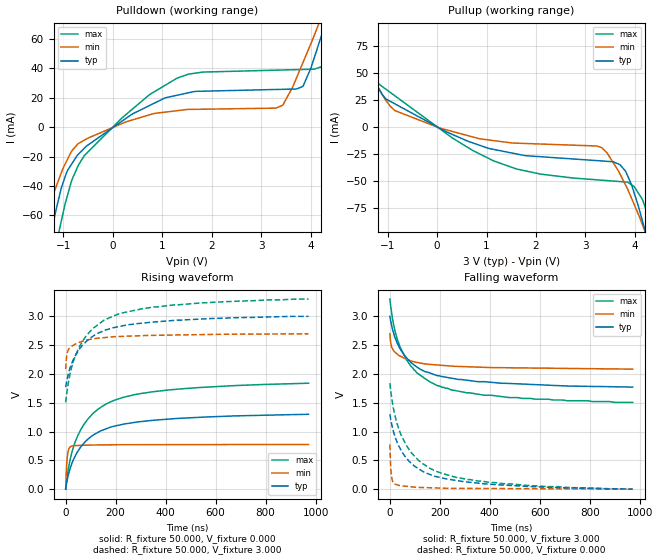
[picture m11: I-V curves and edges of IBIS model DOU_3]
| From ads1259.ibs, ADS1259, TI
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|   2-state Output DOU model 3V
[Model]   DOU_3
Model_type   Output
|Signals   _DRDY
Vmeas = 1.500V
| variable   typ   min   max
|C_comp Output average
C_comp   4.78401E-12   5.7982E-12   3.89789E-12
[Voltage Range]   3.000V   2.700V   3.300V
[Temperature Range]   27.0   105.0   -40.0
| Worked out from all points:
|   slope of the pulldown table from 0 to 0.45 V, typ, clamps not added: 44.3 ohm
|   slope of the pullup table from 0 to 0.45 V, typ, clamps not added: 45.2 ohm
|   falling waveform, R_fixture 50.000, V_fixture 3.000: 20-80 % time 147ns typ, 97.7ns min, 147ns max; typ from 3 V to 1.77 V
|   rising waveform, R_fixture 50.000, V_fixture 0.000: 20-80 % time 146ns typ, 7.27ns min, 148ns max; typ from 0 V to 1.3 V
|   rising waveform, R_fixture 50.000, V_fixture 3.000: 20-80 % time 143ns typ, 71.6ns min, 147ns max; typ from 1.77 V to 3 V
|   falling waveform, R_fixture 50.000, V_fixture 0.000: 20-80 % time 145ns typ, 8.59ns min, 146ns max; typ from 1.3 V to 0 V
[Pulldown]
|   Voltage   I(typ)   I(min)   I(max)
-3V       -420mA     -281.9mA   -598.5mA
-1.479V   -113.4mA   -75.96mA   -166.8mA
-1.283V   -78.44mA   -54.3mA    -114.3mA
-1.097V   -48.99mA   -35.92mA   -72.1mA
-910.4mV  -29.08mA   -21.34mA   -45.48mA
-577.8mV  -14.36mA   -8.858mA   -19.38mA
1.301V    21.71mA    11.2mA     33.32mA
3.298V    25.61mA    12.92mA    38.73mA
3.837V    27.66mA    43.54mA    39.2mA
4.226V    63.17mA    75.71mA    41.2mA
4.62V     105.8mA    109.4mA    89.19mA
5.991V    259.1mA    228.8mA    290.3mA
[Pullup]
|   Voltage   I(typ)   I(min)   I(max)
-3V       233.5mA    190.2mA    295.4mA
-1.988V   120.8mA    102.5mA    147.1mA
-1.555V   73.71mA    66.05mA    84.98mA
-1.232V   40.85mA    39.82mA    44.15mA
-853.7mV  21.62mA    15.38mA    29.08mA
1.129V    -20.53mA   -12.4mA    -30.96mA
3.331V    -31.36mA   -19.09mA   -49.2mA
3.804V    -40.53mA   -53.13mA   -50.84mA
3.984V    -61.05mA   -71.71mA   -55.17mA
4.221V    -98.53mA   -98.73mA   -75.9mA
4.367V    -125mA     -116.2mA   -106.9mA
5.991V    -453.4mA   -344.2mA   -564.1mA
[Ramp]
R_load = 50
|   typ   min   max
dV/dt_r   0.780292/1.44179e-07   0.46584/7.27296e-09   1.10365/1.47808e-07
dV/dt_f   0.736738/1.44898e-07   0.375501/9.74127e-08   1.07562/1.47011e-07
[Falling Waveform]
R_fixture = 50.000
V_fixture = 3.000
V_fixture_min = 2.700
V_fixture_max = 3.300
C_fixture = 0.000
|  time   V(typ)   V(min)   V(max)
0s        3V         2.697V     3.3V
3.35ns    2.918V     2.548V     3.178V
7.694ns   2.831V     2.461V     3.046V
22.79ns   2.61V      2.37V      2.706V
38.78ns   2.454V     2.316V     2.488V
66.71ns   2.281V     2.254V     2.243V
106.6ns   2.126V     2.201V     2.025V
192.4ns   1.97V      2.155V     1.793V
481.4ns   1.834V     2.107V     1.589V
971.4ns   1.772V     2.084V     1.507V
[Rising Waveform]
R_fixture = 50.000
V_fixture = 0.000
V_fixture_min = 0.000
V_fixture_max = 0.000
C_fixture = 0.000
|  time   V(typ)   V(min)   V(max)
0s        3.631uV    4.439uV    -178.2nV
3.35ns    94.01mV    378.3mV    126.4mV
6.186ns   159.8mV    544.2mV    220.8mV
16.37ns   337.3mV    727.9mV    481.4mV
38.78ns   582.4mV    756.3mV    827.4mV
73.91ns   803.8mV    762.3mV    1.128V
127.3ns   981mV      767.3mV    1.381V
186.6ns   1.085V     770.3mV    1.529V
431.8ns   1.223V     772.8mV    1.73V
971.4ns   1.3V       776.4mV    1.839V
[Rising Waveform]
R_fixture = 50.000
V_fixture = 3.000
V_fixture_min = 2.700
V_fixture_max = 3.300
C_fixture = 0.000
|  time   V(typ)   V(min)   V(max)
0s        1.772V     2.084V     1.507V
2.013ns   1.826V     2.222V     1.585V
4.739ns   1.884V     2.326V     1.68V
10.89ns   2.003V     2.421V     1.856V
29ns      2.234V     2.494V     2.195V
56.96ns   2.444V     2.552V     2.491V
106.6ns   2.647V     2.607V     2.78V
192.4ns   2.804V     2.646V     3.011V
434.6ns   2.93V      2.676V     3.199V
971.4ns   3V         2.697V     3.3V
[Falling Waveform]
R_fixture = 50.000
V_fixture = 0.000
V_fixture_min = 0.000
V_fixture_max = 0.000
C_fixture = 0.000
|  time   V(typ)   V(min)   V(max)
0s        1.3V       776.4mV    1.839V
2.013ns   1.248V     511.8mV    1.762V
4.739ns   1.183V     310.7mV    1.664V
14.46ns   998.5mV    105.8mV    1.399V
36.14ns   745.5mV    65.49mV    1.038V
70.05ns   520.4mV    47.98mV    730.1mV
118.8ns   343.9mV    29.99mV    483.8mV
175.6ns   229.4mV    22.25mV    325.5mV
404.5ns   84.64mV    11.56mV    114.3mV
971.4ns   3.631uV    4.439uV    -178.2nV
